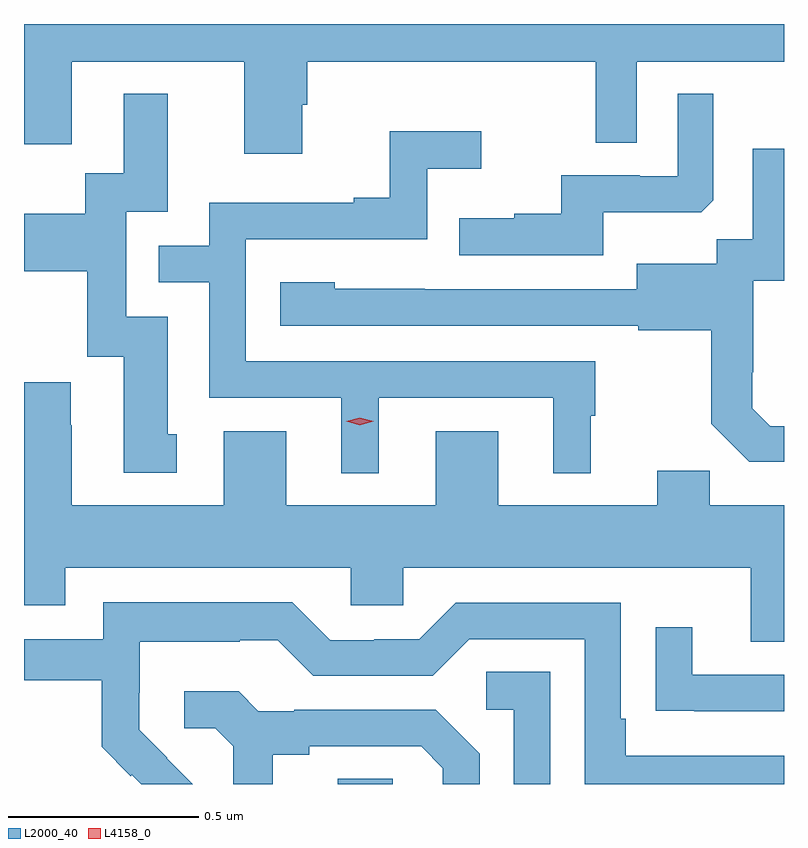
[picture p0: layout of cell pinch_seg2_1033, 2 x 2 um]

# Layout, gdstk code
import gdstk
lib = gdstk.Library(unit=1e-6, precision=1e-09)
def R(c, l, rs):  # rectangles x0, y0, x1, y1
    for r in rs: c.add(gdstk.rectangle(r[:2], r[2:], *l))
def P(c, l, *ps):  # polygons
    for p in ps: c.add(gdstk.Polygon(p, *l))
L2000_40 = (2000, 40)
L4158_0 = (4158, 0)

pinch_seg2_1033 = lib.new_cell('pinch_seg2_1033')
R(pinch_seg2_1033, L2000_40, [(195.407,609.771,195.552,609.785)])
P(pinch_seg2_1033, L2000_40, [(196.194,611.672),(196.581,611.672),(196.581,611.771),(194.581,611.771),(194.581,611.454),(194.707,611.454),(194.707,611.672),(195.161,611.672),(195.161,611.43),(195.313,611.43),(195.313,611.559),(195.326,611.559),(195.326,611.672),(196.086,611.672),(196.086,611.458),(196.194,611.458)],
  [(196.105,611.276),(196.363,611.276),(196.395,611.307),(196.395,611.587),(196.302,611.587),(196.302,611.37),(196.202,611.37),(196.202,611.373),(195.995,611.373),(195.995,611.272),(195.871,611.272),(195.871,611.26),(195.727,611.26),(195.727,611.163),(196.105,611.163)],
  [(194.983,610.692),(194.959,610.692),(194.959,611.001),(194.85,611.001),(194.85,611.277),(194.959,611.277),(194.959,611.587),(194.843,611.587),(194.843,611.378),(194.742,611.378),(194.742,611.272),(194.581,611.272),(194.581,611.12),(194.747,611.12),(194.747,610.896),(194.843,610.896),(194.843,610.59),(194.983,610.59)],
  [(195.514,610.788),(195.974,610.788),(195.974,610.589),(196.072,610.589),(196.072,610.74),(196.084,610.74),(196.084,610.884),(195.165,610.884),(195.165,611.205),(195.642,611.205),(195.642,611.39),(195.784,611.39),(195.784,611.489),(195.544,611.489),(195.544,611.314),(195.449,611.314),(195.449,611.301),(195.069,611.301),(195.069,611.187),(194.935,611.187),(194.935,611.091),(195.069,611.091),(195.069,610.788),(195.416,610.788),(195.416,610.589),(195.514,610.589)],
  [(196.581,610.713),(196.545,610.713),(196.498,610.76),(196.498,610.855),(196.5,610.855),(196.5,611.096),(196.581,611.096),(196.581,611.443),(196.499,611.443),(196.499,611.204),(196.404,611.204),(196.404,611.14),(196.193,611.14),(196.193,611.073),(195.635,611.073),(195.635,611.074),(195.399,611.074),(195.399,611.092),(195.255,611.092),(195.255,610.977),(196.197,610.977),(196.197,610.965),(196.389,610.965),(196.389,610.719),(196.489,610.619),(196.581,610.619)],
  [(196.581,610.504),(196.385,610.504),(196.385,610.595),(196.247,610.595),(196.247,610.504),(195.829,610.504),(195.829,610.699),(195.665,610.699),(195.665,610.504),(195.271,610.504),(195.271,610.699),(195.107,610.699),(195.107,610.504),(194.707,610.504),(194.707,610.715),(194.704,610.715),(194.704,610.828),(194.581,610.828),(194.581,610.241),(194.689,610.241),(194.689,610.34),(195.441,610.34),(195.441,610.242),(195.579,610.242),(195.579,610.34),(196.493,610.34),(196.493,610.146),(196.581,610.146)],
  [(194.957,609.839),(194.958,609.84),(194.884,609.914),(194.884,610.011),(194.886,610.011),(194.886,610.145),(195.149,610.145),(195.149,610.149),(195.249,610.149),(195.342,610.056),(195.657,610.056),(195.753,610.152),(196.056,610.152),(196.056,609.771),(196.581,609.771),(196.581,609.846),(196.165,609.846),(196.165,609.943),(196.152,609.943),(196.152,610.248),(195.717,610.248),(195.621,610.152),(195.503,610.152),(195.503,610.149),(195.387,610.149),(195.287,610.249),(194.79,610.249),(194.79,610.152),(194.581,610.152),(194.581,610.044),(194.785,610.044),(194.785,609.869),(194.862,609.792),(194.865,609.795),(194.889,609.771),(195.025,609.771)],
  [(196.581,610.059),(196.339,610.059),(196.339,610.183),(196.243,610.183),(196.243,609.964),(196.345,609.964),(196.345,609.963),(196.581,609.963)],
  [(195.966,610.067),(195.798,610.067),(195.798,609.966),(195.87,609.966),(195.87,609.771),(195.966,609.771)],
  [(195.235,609.848),(195.331,609.848),(195.331,609.87),(195.626,609.87),(195.683,609.813),(195.683,609.771),(195.78,609.771),(195.78,609.85),(195.664,609.966),(195.292,609.966),(195.292,609.963),(195.198,609.963),(195.146,610.015),(195.003,610.015),(195.003,609.918),(195.084,609.918),(195.131,609.871),(195.131,609.771),(195.235,609.771)])
P(pinch_seg2_1033, L4158_0, [(195.465,610.715),(195.429,610.725),(195.429,610.725),(195.429,610.725),(195.465,610.735),(195.501,610.725),(195.501,610.725),(195.501,610.725)])

lib.write_gds('pinch_seg2_1033.gds')
